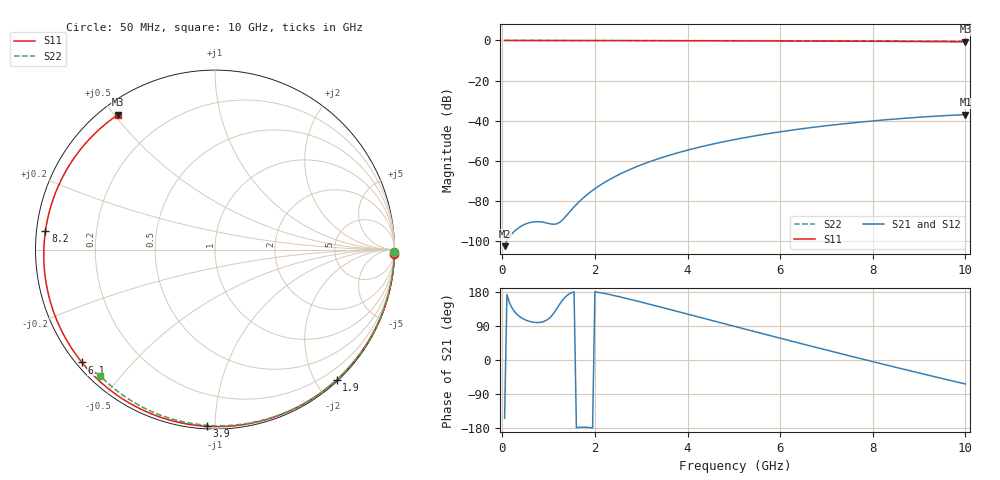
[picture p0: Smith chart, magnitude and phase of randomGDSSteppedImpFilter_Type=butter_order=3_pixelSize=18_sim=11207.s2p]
! freq	dB(S11)	phase(S11)	dB(S12)	phase(S12)
!  dB(S21)	phase(S21)	dB(S22)	phase(S22)
!S-par simulation data
#  GHz  S  DB  R 50
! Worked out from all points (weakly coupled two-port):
!   200 points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, 50 MHz to 10 GHz, reference 50 ohm
!   highest |S21| = -36.96 dB at 10 GHz (marker M1); lowest = -102.6 dB at 50 MHz (marker M2)
!   lowest |S11| = -0.7 dB at 10 GHz (marker M3), VSWR 25.94, Z = 2.43 + j25.6 ohm
!   |S11| at or under -10 dB: nowhere
!   |S22| runs from -0.4 to 0.0 dB; largest |S21 - S12| = 0
!   S11 on the Smith chart (normalised r, x): 50 MHz: 0, -90; 1.9 GHz: 0.02, -2.30; 3.9 GHz: 0.01, -0.95; 6.1 GHz: 0.02, -0.37; 8.2 GHz: 0.03, +0.06; 10 GHz: 0.05, +0.51
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0.05  -0.00 -1.3  -102.60 -153.5  -102.60 -153.5  -0.00 -0.8
0.8  -0.02 -20.1  -90.42 99.1  -90.42 99.1  -0.01 -12.2
1.65  -0.05 -40.9  -80.64 -177.8  -80.64 -177.8  -0.03 -24.9
1.7  -0.05 -42.1  -79.54 -177.3  -79.54 -177.3  -0.03 -25.6
1.75  -0.05 -43.3  -78.49 -177.3  -78.49 -177.3  -0.03 -26.4
1.9  -0.06 -46.9  -75.63 -178.4  -75.63 -178.4  -0.04 -28.6
2.2  -0.07 -54.1  -70.92 175.7  -70.92 175.7  -0.04 -33.0
2.55  -0.08 -62.3  -66.54 166.3  -66.54 166.3  -0.05 -38.1
2.95  -0.09 -71.5  -62.50 154.3  -62.50 154.3  -0.06 -43.8
3.4  -0.11 -81.6  -58.77 140.3  -58.77 140.3  -0.07 -50.2
3.9  -0.13 -92.7  -55.33 124.4  -55.33 124.4  -0.08 -57.1
4.45  -0.15 -104.7  -52.16 106.8  -52.16 106.8  -0.09 -64.6
5.05  -0.18 -117.5  -49.27 87.6  -49.27 87.6  -0.11 -72.6
6.1  -0.25 -139.7  -45.22 54.4  -45.22 54.4  -0.15 -86.1
6.7  -0.29 -152.5  -43.36 35.6  -43.36 35.6  -0.18 -93.6
7.45  -0.36 -169.0  -41.37 12.4  -41.37 12.4  -0.22 -102.7
8.2  -0.44 173.6  -39.72 -10.4  -39.72 -10.4  -0.28 -111.5
8.35  -0.46 170.0  -39.43 -14.9  -39.43 -14.9  -0.29 -113.3
8.8  -0.51 158.8  -38.62 -28.4  -38.62 -28.4  -0.33 -118.5
9.2  -0.56 148.3  -37.99 -40.2  -37.99 -40.2  -0.36 -123.1
9.6  -0.62 137.3  -37.43 -51.8  -37.43 -51.8  -0.40 -127.6
10  -0.67 125.7  -36.96 -63.3  -36.96 -63.3  -0.44 -132.2
